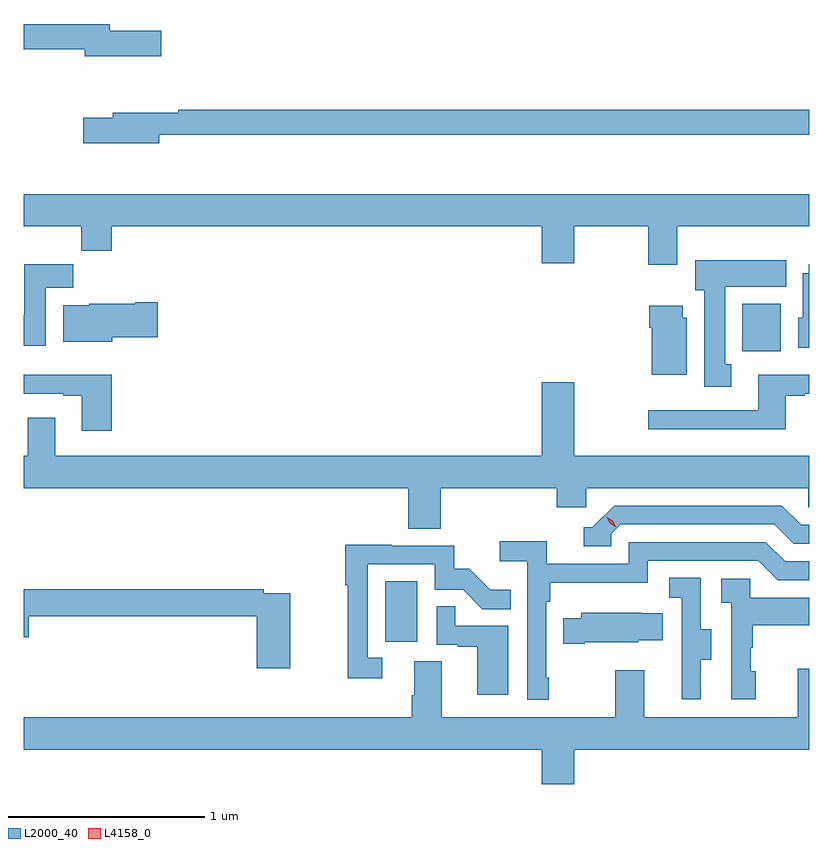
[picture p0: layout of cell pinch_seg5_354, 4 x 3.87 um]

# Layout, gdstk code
import gdstk
lib = gdstk.Library(unit=1e-6, precision=1e-09)
def R(c, l, rs):  # rectangles x0, y0, x1, y1
    for r in rs: c.add(gdstk.rectangle(r[:2], r[2:], *l))
def P(c, l, *ps):  # polygons
    for p in ps: c.add(gdstk.Polygon(p, *l))
L2000_40 = (2000, 40)
L4158_0 = (4158, 0)

pinch_seg5_354 = lib.new_cell('pinch_seg5_354')
R(pinch_seg5_354, L2000_40, [(979.394,875.958,979.558,876.265), (981.212,877.436,981.409,877.678)])
P(pinch_seg5_354, L2000_40, [(978.253,879.069),(977.992,879.069),(977.992,879.103),(977.553,879.103),(977.553,878.974),(977.864,878.974),(977.864,878.939),(978.253,878.939)],
  [(978.244,878.538),(981.553,878.538),(981.553,878.666),(978.34,878.666),(978.34,878.651),(978.005,878.651),(978.005,878.625),(977.856,878.625),(977.856,878.495),(978.244,878.495)],
  [(980.881,878.072),(981.553,878.072),(981.553,878.236),(977.553,878.236),(977.553,878.072),(977.845,878.072),(977.845,877.948),(978.002,877.948),(978.002,878.072),(980.192,878.072),(980.192,877.884),(980.356,877.884),(980.356,878.072),(980.734,878.072),(980.734,877.878),(980.881,877.878)],
  [(981.157,877.37),(981.124,877.37),(981.124,877.766),(981.436,877.766),(981.436,877.9),(980.972,877.9),(980.972,877.746),(981.017,877.746),(981.017,877.257),(981.157,877.257)],
  [(977.665,877.76),(977.804,877.76),(977.804,877.879),(977.555,877.879),(977.555,877.62),(977.553,877.62),(977.553,877.464),(977.665,877.464)],
  [(981.553,877.879),(981.551,877.879),(981.551,877.834),(981.521,877.834),(981.521,877.608),(981.497,877.608),(981.497,877.454),(981.553,877.454)],
  [(978.004,877.508),(978.235,877.508),(978.235,877.686),(978.122,877.686),(978.122,877.678),(977.886,877.678),(977.886,877.672),(977.753,877.672),(977.753,877.484),(978.004,877.484)],
  [(980.929,877.608),(980.908,877.608),(980.908,877.669),(980.738,877.669),(980.738,877.556),(980.75,877.556),(980.75,877.316),(980.929,877.316)],
  [(978.002,877.318),(977.553,877.318),(977.553,877.221),(977.753,877.221),(977.753,877.209),(977.849,877.209),(977.849,877.032),(978.002,877.032)],
  [(981.433,877.209),(981.529,877.209),(981.529,877.221),(981.553,877.221),(981.553,877.318),(981.293,877.318),(981.293,877.137),(980.733,877.137),(980.733,877.04),(981.433,877.04)],
  [(977.713,877.099),(977.573,877.099),(977.573,876.904),(977.553,876.904),(977.553,876.74),(979.511,876.74),(979.511,876.532),(979.676,876.532),(979.676,876.74),(980.267,876.74),(980.267,876.642),(980.418,876.642),(980.418,876.74),(981.549,876.74),(981.549,876.642),(981.553,876.642),(981.553,876.904),(980.356,876.904),(980.356,877.279),(980.192,877.279),(980.192,876.904),(977.713,876.904)],
  [(980.544,876.507),(980.592,876.555),(981.375,876.555),(981.474,876.456),(981.553,876.456),(981.553,876.552),(981.511,876.552),(981.412,876.651),(980.559,876.651),(980.448,876.54),(980.405,876.54),(980.405,876.444),(980.544,876.444)],
  [(980.227,875.773),(980.214,875.773),(980.214,876.161),(980.234,876.161),(980.234,876.257),(980.73,876.257),(980.73,876.369),(981.294,876.369),(981.393,876.27),(981.553,876.27),(981.553,876.366),(981.43,876.366),(981.331,876.465),(980.634,876.465),(980.634,876.354),(980.216,876.354),(980.216,876.47),(979.977,876.47),(979.977,876.368),(980.118,876.368),(980.118,875.661),(980.227,875.661)],
  [(979.378,875.877),(979.305,875.877),(979.305,876.351),(979.647,876.351),(979.647,876.222),(979.791,876.222),(979.889,876.124),(980.033,876.124),(980.033,876.223),(979.929,876.223),(979.822,876.33),(979.746,876.33),(979.746,876.447),(979.427,876.447),(979.427,876.452),(979.189,876.452),(979.189,876.244),(979.204,876.244),(979.204,875.772),(979.378,875.772)],
  [(981.001,875.866),(981.055,875.866),(981.055,876.021),(981,876.021),(981,876.284),(980.841,876.284),(980.841,876.181),(980.904,876.181),(980.904,875.877),(980.903,875.877),(980.903,875.664),(981.001,875.664)],
  [(981.28,875.808),(981.255,875.808),(981.255,875.927),(981.265,875.927),(981.265,876.041),(981.553,876.041),(981.553,876.181),(981.252,876.181),(981.252,876.279),(981.105,876.279),(981.105,876.155),(981.156,876.155),(981.156,875.664),(981.28,875.664)],
  [(978.91,876.204),(978.776,876.204),(978.776,876.224),(977.553,876.224),(977.553,875.981),(977.578,875.981),(977.578,876.088),(978.74,876.088),(978.74,875.823),(978.91,875.823)],
  [(980.02,876.039),(979.751,876.039),(979.751,876.137),(979.656,876.137),(979.656,875.943),(979.763,875.943),(979.763,875.931),(979.862,875.931),(979.862,875.688),(980.02,875.688)],
  [(980.41,875.954),(980.682,875.954),(980.682,875.966),(980.807,875.966),(980.807,876.103),(980.699,876.103),(980.699,876.106),(980.393,876.106),(980.393,876.076),(980.299,876.076),(980.299,875.947),(980.41,875.947)],
  [(980.356,875.408),(981.553,875.408),(981.553,875.821),(981.494,875.821),(981.494,875.572),(980.713,875.572),(980.713,875.812),(980.566,875.812),(980.566,875.572),(979.681,875.572),(979.681,875.858),(979.541,875.858),(979.541,875.684),(979.529,875.684),(979.529,875.572),(977.553,875.572),(977.553,875.408),(980.192,875.408),(980.192,875.233),(980.356,875.233)])
P(pinch_seg5_354, L4158_0, [(980.568,876.541),(980.537,876.561),(980.522,876.594),(980.522,876.594),(980.522,876.594),(980.553,876.574),(980.568,876.541),(980.568,876.541)])

lib.write_gds('pinch_seg5_354.gds')
